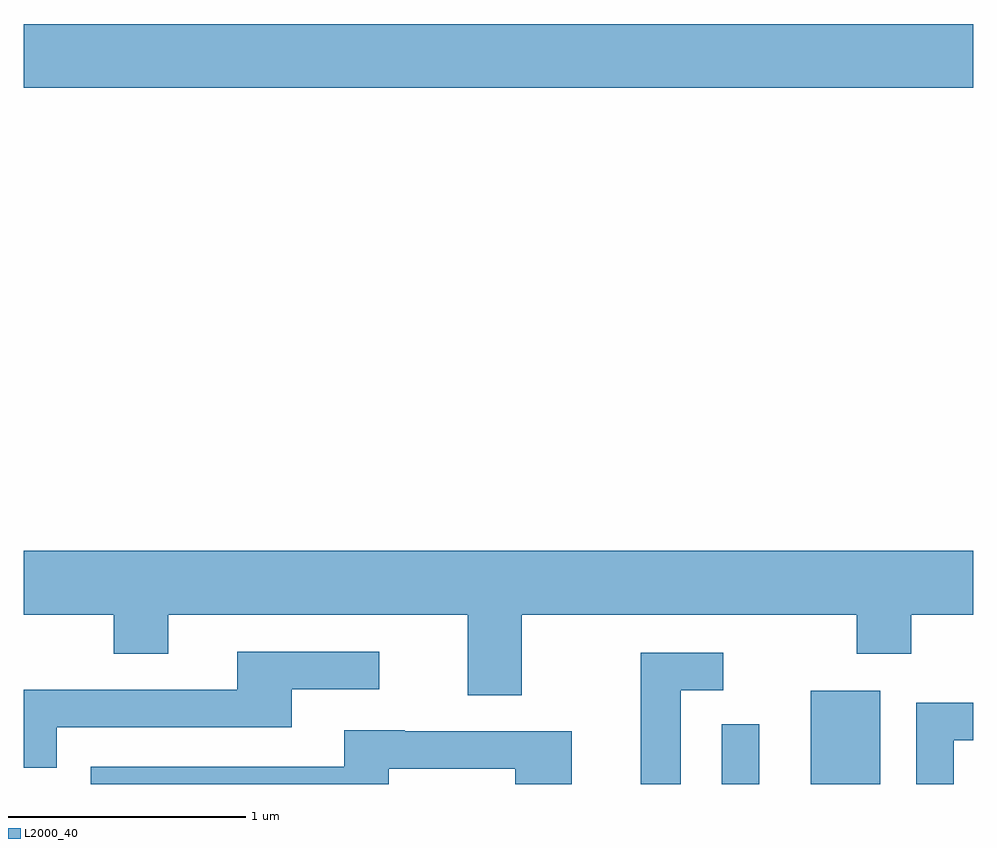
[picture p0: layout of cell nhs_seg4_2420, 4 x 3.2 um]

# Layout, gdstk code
import gdstk
lib = gdstk.Library(unit=1e-6, precision=1e-09)
def R(c, l, rs):  # rectangles x0, y0, x1, y1
    for r in rs: c.add(gdstk.rectangle(r[:2], r[2:], *l))
def P(c, l, *ps):  # polygons
    for p in ps: c.add(gdstk.Polygon(p, *l))
L2000_40 = (2000, 40)

nhs_seg4_2420 = lib.new_cell('nhs_seg4_2420')
R(nhs_seg4_2420, L2000_40, [(258.551,1333.982,258.709,1334.233), (258.926,1333.982,259.219,1334.374), (255.611,1336.916,259.611,1337.184)])
P(nhs_seg4_2420, L2000_40, [(257.709,1334.696),(259.121,1334.696),(259.121,1334.531),(259.349,1334.531),(259.349,1334.696),(259.611,1334.696),(259.611,1334.964),(255.611,1334.964),(255.611,1334.696),(255.991,1334.696),(255.991,1334.531),(256.219,1334.531),(256.219,1334.696),(257.481,1334.696),(257.481,1334.356),(257.709,1334.356)],
  [(255.749,1334.221),(256.739,1334.221),(256.739,1334.381),(257.108,1334.381),(257.108,1334.539),(256.511,1334.539),(256.511,1334.379),(255.611,1334.379),(255.611,1334.051),(255.749,1334.051)],
  [(258.379,1334.376),(258.558,1334.376),(258.558,1334.534),(258.211,1334.534),(258.211,1333.982),(258.379,1333.982)],
  [(259.529,1334.166),(259.611,1334.166),(259.611,1334.324),(259.371,1334.324),(259.371,1333.982),(259.529,1333.982)],
  [(257.149,1334.046),(257.681,1334.046),(257.681,1333.982),(257.919,1333.982),(257.919,1334.204),(257.215,1334.204),(257.215,1334.209),(256.961,1334.209),(256.961,1334.054),(255.893,1334.054),(255.893,1333.982),(257.149,1333.982)])

lib.write_gds('nhs_seg4_2420.gds')
